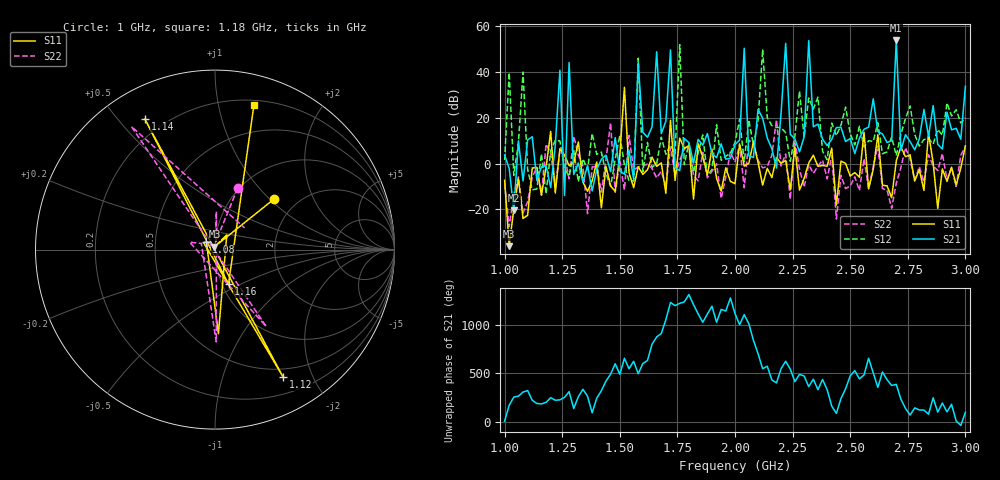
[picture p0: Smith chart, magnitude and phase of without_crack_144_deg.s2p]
# MHz S MA R 50
!  freq  S11  S21  S12  S22
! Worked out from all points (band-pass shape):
!   101 points, 1 GHz to 3 GHz, reference 50 ohm
!   highest |S21| = 53.82 dB at 2.7 GHz (marker M1); lowest = -20.4 dB at 1.04 GHz (marker M2)
!   |S21| within 3 dB of the highest: 2.218883 GHz to 2.220859 GHz (1.976 MHz wide, 0.089 % of centre); 2.318619 GHz to 2.321545 GHz (2.926 MHz wide, 0.126 % of centre) (the widest 2 of 3)
!   lowest |S11| = -36.0 dB at 1.02 GHz (marker M3), VSWR 1.03, Z = 49.7 + j1.54 ohm
!   |S11| at or under -10 dB: 1.002 GHz to 1.055 GHz (52.82 MHz wide, 5.14 % of centre); 1.064 GHz to 1.112 GHz (48.18 MHz wide, 4.43 % of centre); 1.154 GHz to 1.166 GHz (12.27 MHz wide, 1.06 % of centre) (the widest 3 of 18)
!   |S22| runs from -27.5 to 19.2 dB; largest |S21 - S12| = 4.9e+02
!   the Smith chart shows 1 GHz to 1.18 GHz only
!   S11 on the Smith chart (normalised r, x): 1 GHz: 1.53, +1.07; 1.08 GHz: 0.91, +0.08; 1.12 GHz: 0.39, -1.60; 1.14 GHz: 0.13, +0.59; 1.16 GHz: 1.07, -0.43; 1.18 GHz: 0.24, +1.28
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1000  0.4347 40.6  1.54 6.9  1.202 6.7  0.3651 69.7
1020  0.0158 101.1  0.7842 172.0  97.81 82.1  0.04224 85.3
1040  0.1051 51.3  0.09499 -104.1  0.559 -111.2  0.2123 87.9
1080  0.0636 138.9  0.4205 -52.1  100.5 -166.7  0.08347 155.7
1120  0.8062 -61.9  3.877 -137.4  0.268 18.5  0.5152 -56.3
1140  0.8258 118.2  0.4296 -170.3  0.2811 172.9  0.8291 124.2
1160  0.2063 -68.6  0.8535 -174.5  1.642 -177.3  0.2042 36.4
1180  0.8353 74.9  0.905 -157.9  0.2183 66.4  2.66 96.5
1340  0.3981 67.4  0.393 -23.4  1.279 -67.2  0.8751 154.1
1680  1.042 83.3  4.543 -167.4  3.794 -120.3  0.679 87.2
1760  3.605 -159.2  0.7081 144.4  398.7 177.4  1.201 -77.3
1780  2.16 34.3  3.544 158.7  0.9433 0.6  2.083 -80.4
2000  0.3661 80.4  2.602 39.2  2.905 -52.4  1.079 76.7
2200  1.016 97.2  12.57 -170.9  6.158 -44.4  0.8881 107.4
2220  1.18 -120.5  422.8 -93.3  4.708 101.2  1.629 -106.3
2300  0.4775 -103.4  3.832 113.6  3.743 133.4  0.3069 -99.6
2320  1.029 70.5  485.4 4.2  27.21 57.6  0.9502 60.3
2340  1.533 31.3  6.406 80.2  15.63 -161.7  0.6115 88.7
2680  0.1806 22.7  3.165 16.6  3.859 -168.6  0.1068 -51.2
2700  1.154 85.8  490.8 26.6  1.504 110.0  0.3738 49.0
2720  2.309 -142.5  1.961 -126.0  4.378 -167.8  0.8227 41.3
3000  2.452 -71.3  49.05 98.0  10.16 109.7  2.325 -87.7
